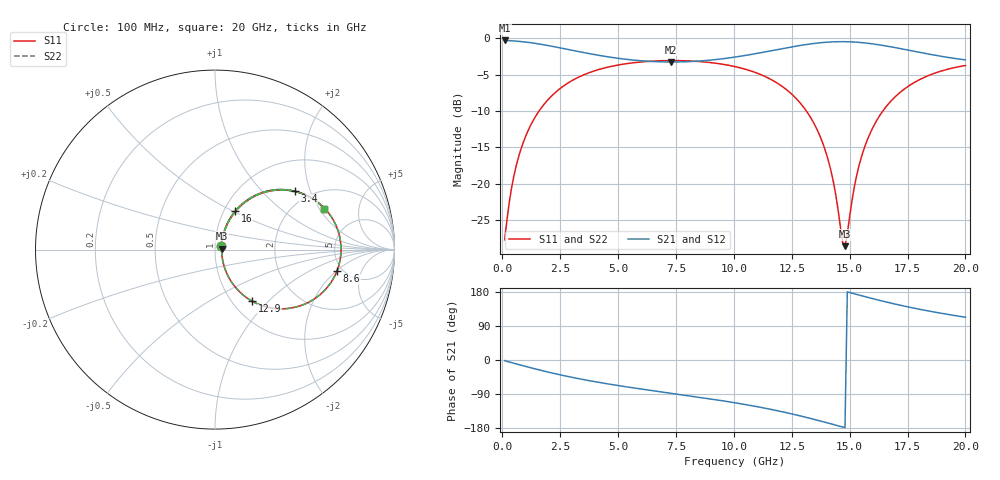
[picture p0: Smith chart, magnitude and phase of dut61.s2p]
! Touchstone file exported from HFSS 2026.1.0
!  File:  C:/ffzhzh/LocalFiles/Ansys_Project_Files/temp_train_TSV_RDL_61_1782968346_6388.aedt
!  Generated:  01:15:00 PM Jul  2, 2026
!  Design:  TSV_RDL
!  Project:  temp_train_TSV_RDL_61_1782968346_6388
! Variables:
!  h_bsmrdl = 4.98um
!  h_ox = 20um
!  h_rdl = 5um
!  h_sub = 69.85um
!  h_tmrdl = 3.43um
!  h_tsv = 69.85um
!  h_via = 3um
!  l_bsmrdl = 183.91um
!  l_sub = 4148.61um
!  l_tmrdl = 772.97um
!  m_sub = 200um
!  pitch = 58.64um
!  r_tsv = 2.11um
!  s_tmrdl = 10um
!  w_bsmrdl = 20.45um
!  w_sub = 500um
!  w_tmrdl = 14.55um
!  x_tsv_center1 = 780.245um
!  x_tsv_center2 = 984.605um
!  x_tsv_center3 = 1772.125um
!  x_tsv_center4 = 1976.485um
!  x_tsv_center5 = 2764.005um
!  x_tsv_center6 = 2968.365um
# GHz S MA R 50.000000
! Terminal data exported
! Port[1] = TM_RDL1_1_T1
! Port[2] = TM_RDL5_1_T1
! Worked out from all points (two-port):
!   200 points, 100 MHz to 20 GHz, reference 50 ohm
!   highest |S21| = -0.31 dB at 100 MHz (marker M1); lowest = -3.3 dB at 7.3 GHz (marker M2)
!   |S21| within 3 dB of the highest: start of sweep to end of sweep
!   lowest |S11| = -28.6 dB at 14.8 GHz (marker M3), VSWR 1.08, Z = 53.8 + j0.636 ohm
!   |S11| at or under -10 dB: start of sweep to 1.59 GHz; 13.13 GHz to 16.44 GHz (3.308 GHz wide, 22.4 % of centre)
!   |S22| runs from -28.6 to -3.1 dB; largest |S21 - S12| = 1.7e-14
!   S11 on the Smith chart (normalised r, x): 100 MHz: 1.07, +0.04; 3.4 GHz: 1.68, +1.56; 8.6 GHz: 4.46, -2.05; 12.9 GHz: 1.23, -0.81; 16 GHz: 1.13, +0.52; 20 GHz: 2.80, +2.22
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0.1  0.04106 30.7  0.9651 -1.7  0.9651 -1.7  0.04106 30.7
! Gamma 0 0 0 0
! Port Impedance 50 0 50 0
0.5  0.1128 62.7  0.9579 -8.6  0.9579 -8.6  0.1128 62.7
1.1  0.229 62.4  0.937 -18.4  0.937 -18.4  0.229 62.4
2.1  0.3966 51.3  0.8831 -33.6  0.8831 -33.6  0.3966 51.3
3.4  0.5495 36.2  0.8034 -50.5  0.8034 -50.5  0.5495 36.2
3.5  0.5584 35.1  0.7977 -51.6  0.7977 -51.6  0.5584 35.1
6.8  0.6997 4.8  0.6883 -83.6  0.6883 -83.6  0.6997 4.8
7.3  0.7022 0.7  0.6863 -87.9  0.6863 -87.9  0.7022 0.7
8.6  0.6895 -10.1  0.6985 -99.2  0.6985 -99.2  0.6895 -10.1
10.1  0.6353 -23.5  0.744 -113.4  0.744 -113.4  0.6353 -23.5
11.6  0.521 -39.0  0.8194 -130.3  0.8194 -130.3  0.521 -39.0
12.9  0.3534 -54.3  0.8937 -148.0  0.8937 -148.0  0.3534 -54.3
13.4  0.2703 -59.9  0.9178 -155.6  0.9178 -155.6  0.2702 -59.9
14.1  0.1407 -63.5  0.9407 -166.9  0.9407 -166.9  0.1406 -63.5
14.4  0.08409 -57.6  0.9455 -171.9  0.9455 -171.9  0.08406 -57.6
14.7  0.0395 -19.9  0.9468 -176.9  0.9468 -176.9  0.03946 -20.0
14.8  0.03719 9.1  0.9464 -178.6  0.9464 -178.6  0.03716 9.2
15.3  0.113 63.0  0.9388 173.1  0.9388 173.1  0.113 63.0
16  0.2424 62.3  0.9139 161.8  0.9139 161.8  0.2424 62.3
16.7  0.3571 54.9  0.8775 151.3  0.8775 151.3  0.3571 54.9
18.1  0.5267 39.1  0.7951 132.9  0.7951 132.9  0.5267 39.1
20  0.649 20.6  0.7096 112.8  0.7096 112.8  0.649 20.6
